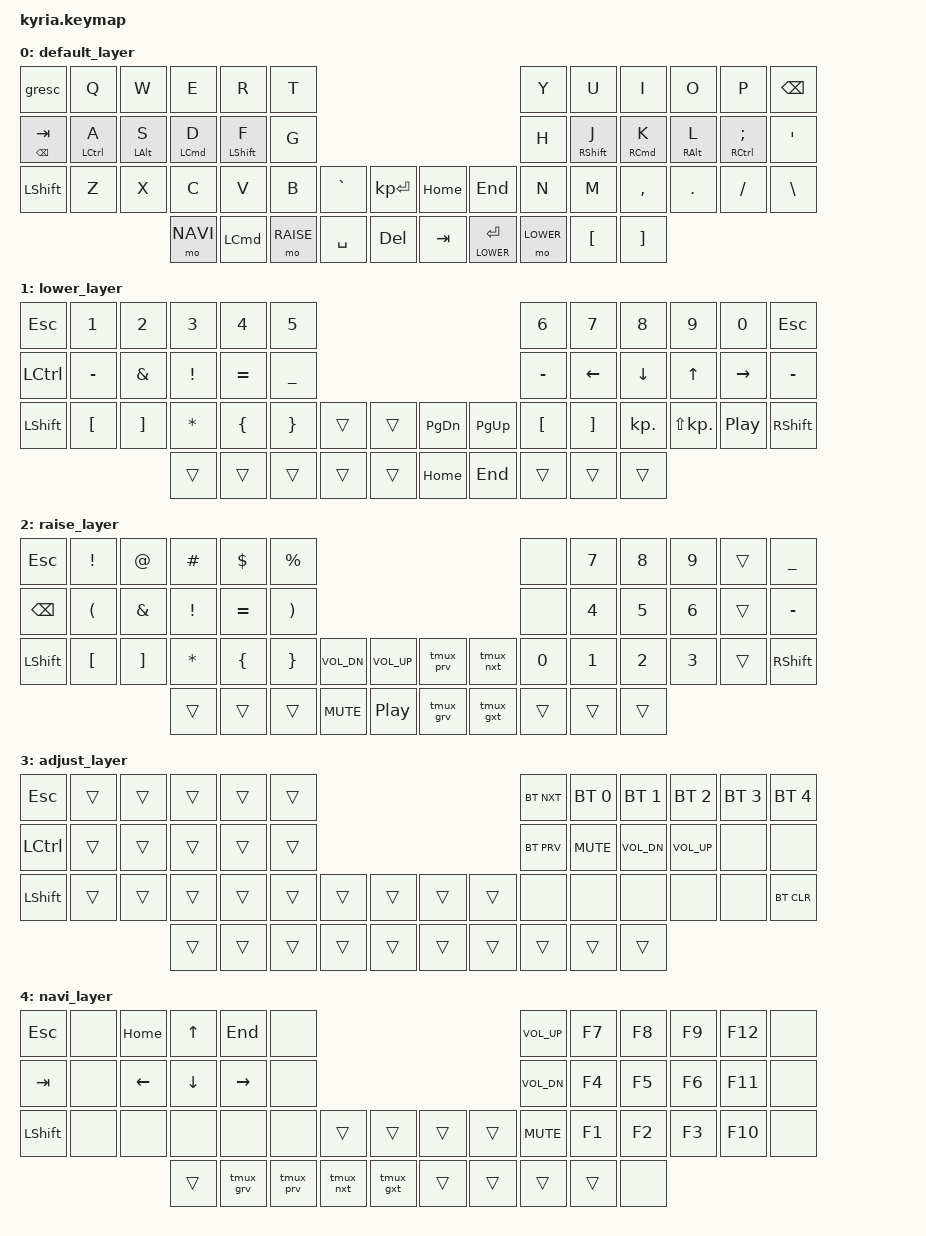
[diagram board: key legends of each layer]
/*
 * Copyright (c) 2020 The ZMK Contributors
 *
 * SPDX-License-Identifier: MIT
 */

#include <behaviors.dtsi>
#include <dt-bindings/zmk/keys.h>
#include <dt-bindings/zmk/bt.h>
#include <dt-bindings/zmk/ext_power.h>

#define DEFAULT 0
#define LOWER    1
#define RAISE    2
#define ADJUST  3
#define NAVI  4

/ {
    conditional_layers {
        compatible = "zmk,conditional-layers";
        tri_layer {
            if-layers = <LOWER RAISE>;
            then-layer = <ADJUST>;
        };
    };
};

/ {
    macros {
        tmux_nxt: tmux_nxt {
            label = "ZM_tmux_nxt";
			#binding-cells = <0>;
            compatible = "zmk,behavior-macro";
            bindings
                = <&macro_press &kp LCTRL>
                , <&macro_tap &kp B>
                , <&macro_release &kp LCTRL>
				, <&macro_tap &kp N>
                ;
        };
		tmux_prv: tmux_prv {
            label = "ZM_tmux_prv";
			#binding-cells = <0>;
            compatible = "zmk,behavior-macro";
            bindings
                = <&macro_press &kp LCTRL>
                , <&macro_tap &kp B>
                , <&macro_release &kp LCTRL>
				, <&macro_tap &kp P>
                ;
        };
        tmux_gxt: tmux_gxt {
            label = "ZM_tmux_gxt";
			#binding-cells = <0>;
            compatible = "zmk,behavior-macro";
            bindings
                = <&macro_press &kp LCTRL>
                , <&macro_tap &kp G>
                , <&macro_release &kp LCTRL>
				, <&macro_tap &kp N>
                ;
        };
		tmux_grv: tmux_grv {
            label = "ZM_tmux_grv";
			#binding-cells = <0>;
            compatible = "zmk,behavior-macro";
            bindings
                = <&macro_press &kp LCTRL>
                , <&macro_tap &kp G>
                , <&macro_release &kp LCTRL>
				, <&macro_tap &kp P>
                ;
        };
    };

	behaviors {
        hm: homerow_mods {
            compatible = "zmk,behavior-hold-tap";
            label = "HOMEROW_MODS";
            #binding-cells = <2>;
            tapping-term-ms = <100>;
            quick-tap-ms = <0>;
            flavor = "tap-preferred";
            bindings = <&kp>, <&kp>;
        };

        bhm: balanced_homerow_mods {
            compatible = "zmk,behavior-hold-tap";
            label = "HOMEROW_MODS";
            #binding-cells = <2>;
            tapping-term-ms = <250>;    // <---[[moderate duration]]
            quick-tap-ms = <0>;
            flavor = "balanced";
            bindings = <&kp>, <&kp>;
        };

        gresc: grave_escape {
            compatible = "zmk,behavior-mod-morph";
            label = "GRAVE_ESCAPE";
            #binding-cells = <0>;
            bindings = <&kp ESC>, <&kp GRAVE>;
            mods = <(MOD_LGUI|MOD_LSFT|MOD_RGUI|MOD_RSFT)>;
        };

        qt: quick_tap {
            compatible = "zmk,behavior-hold-tap";
            label = "QUICK_TAP";
            #binding-cells = <2>;
            flavor = "tap-preferred";
            tapping-term-ms = <250>;
            quick-tap-ms = <125>;
            bindings = <&kp>, <&kp>;
        };
    };

    combos {
		compatible = "zmk,combos";
        combo_grave_navi {
            timeout-ms = <50>;
            key-positions = <30 43>;
            bindings = <&mo NAVI>;
        };
    };

	keymap {
		compatible = "zmk,keymap";

		default_layer {
// ---------------------------------------------------------------------------------------------------------------------------------
// |  ESC  |  Q  |  W  |  E   |  R    |  T    |                                                                |  Y   |  U    |  I    |  O   |   P   | BSPC |
// |  BSPC |  A  |  S  |  D   |  F    |  G    |                                                                |  H   |  J    |  K    |  L   |   ;   |   '  |
// | SHIFT |  Z  |  X  |  C   |  V    |  B    |  GRAVE | RET  |                                |  PGDN  | PGUP |  N   |  M    |  ,    |  .   |   /   |   \  |
//                     | NAVI | LCMD | RAISE  | SPACE  | DEL  |                                |   TAB  |  RET | RAISE|  {[   |  }]   |
          bindings = <
   &gresc       &kp Q       &kp W       &kp E       &kp R        &kp T                                	                         &kp Y     &kp U        &kp I       &kp O       &kp P           &kp BSPC
   &qt BSPC TAB &hm LCTRL A &bhm LALT S &bhm LCMD D &bhm LSHFT F &kp G                                	                         &kp H     &bhm RSHFT J &bhm RCMD K &bhm RALT L &bhm RCTRL SEMI &kp SQT
   &kp LSHFT    &kp Z       &kp X       &kp C       &kp V        &kp B     &kp GRAVE &kp KP_ENTER     	  &kp HOME &kp END       &kp N     &kp M        &kp COMMA   &kp DOT     &kp FSLH        &kp BSLH
                                        &mo NAVI    &kp LCMD     &mo RAISE &kp SPACE &kp DEL          	  &kp TAB  &lt LOWER RET &mo LOWER &kp LBKT     &kp RBKT
             >;
        };


		lower_layer {
// ---------------------------------------------------------------------------------------------------------------------------------
// |  ESC  |  1  |  2   |   3   |   4    |  5     |                               		        |  6  |   7   |    8   |   9    |   0    |   ESC  |
// | LCTRL |  -  |  &   |   !   |   =    |  _     |                                             |  -  | LEFT  | DOWN   |  UP    | RIGHT  |    -   |
// | SHIFT |  [  |  ]   |   *   |   {    |  }     |          |       |         | PG_DN  | PG_UP | {[  |   }]  |  ,     |   .    |  >/||  | RSHFT  |
//                      |       |        |        |          |       |         |  TMGR  | TMGX  |     |       |        |
			bindings = <
	&kp ESC   &kp N1    &kp N2   &kp N3   &kp N4   &kp N5                                                &kp N6    &kp N7   &kp N8     &kp N9         &kp N0    &kp ESC
	&kp LCTRL &kp MINUS &kp AMPS &kp EXCL &kp EQL  &kp UNDER                                             &kp MINUS &kp LEFT &kp DOWN   &kp UP         &kp RIGHT &kp MINUS
	&kp LSHFT &kp LBKT  &kp RBKT &kp STAR &kp LBRC &kp RBRC  &trans  &trans         &kp PG_DN &kp PG_UP  &kp LBKT  &kp RBKT &kp KP_DOT &kp LS(KP_DOT) &kp C_PP  &kp RSHFT
	                       &trans         &trans   &trans    &trans  &trans         &kp HOME  &kp END    &trans    &trans   &trans
			>;
		};

		raise_layer {
// ---------------------------------------------------------------------------------------------------------------------------------
// | ESC   |  !  |  @   |   #   |   $    |  %    |                                          |        |   7  |   8   |   9  |      |   _   |
// | BSPC  |  (  |  &   |   !   |   =    |  )    |                                          |        |   4  |   5   |   6  |      |   -   |
// | SHIFT |  [  |  ]   |   *   |   {    |  }    | VOLDN  | VOLUP |         |  TMPR | TMNX  |    0   |   1  |    2  |   3  |      | RSHFT |
//                      |       |        |       |  MUTE  |  >/|| |         |  TMGR | TMGX  |        |      |       |
			bindings = <
	&kp ESC   &kp EXCL  &kp AT    &kp HASH  &kp DLLR &kp PRCNT                                                  &none  &kp N7 &kp N8 &kp N9 &trans &kp UNDERSCORE
	&kp BSPC  &kp LPAR  &kp AMPS  &kp EXCL  &kp EQL  &kp RPAR                                                   &none  &kp N4 &kp N5 &kp N6 &trans &kp MINUS
	&kp LSHFT &kp LBKT  &kp RBKT  &kp STAR  &kp LBRC &kp RBRC &kp C_VOL_DN &kp C_VOL_UP     &tmux_prv &tmux_nxt &kp N0 &kp N1 &kp N2 &kp N3 &trans &kp RSHFT
	                              &trans    &trans   &trans   &kp C_MUTE   &kp C_PP         &tmux_grv &tmux_gxt &trans &trans &trans
			>;
		};

		adjust_layer {
// ---------------------------------------------------------------------------------------------------------------------------------
// |  ESC  |BTCLR|  F2 |  F3  |  F4  | VOL_UP |                                                 | BT+ | BT0  |  BT1 |  BT2 | BT3 |  BT4  |
// |  TAB  |BTNXT|     |      |      | VOL_DN |                                                 | BT- |  MUT | VDN  | VUP  |     |       |
// | SHIFT |BTPRV|BTP1 | BTP2 | BTP3 |  MUTE  | L SHIFT | LOWER |           |         |         |     |      |      |      |     | BTCLR |
//            |        |      |      |  SPACE |   ESC   |                   |         |         |     |      |      |
			bindings = <
	&kp ESC   &trans &trans &trans &trans &trans                                        &bt BT_NXT   &bt BT_SEL 0 &bt BT_SEL 1 &bt BT_SEL 2 &bt BT_SEL 3 &bt BT_SEL 4
	&kp LCTRL &trans &trans &trans &trans &trans                                        &bt BT_PRV   &kp C_MUTE   &kp C_VOL_DN &kp C_VOL_UP &none        &none
	&kp LSHFT &trans &trans &trans &trans &trans &trans  &trans           &trans &trans &none        &none        &none        &none        &none        &bt BT_CLR
	                        &trans &trans &trans &trans &trans            &trans &trans &trans &trans &trans
			>;
		};

		navi_layer {
// ---------------------------------------------------------------------------------------------------------------------------------
// |  ESC  |     | HOME|  ⬆️   | END |       |                                                | C_VOL_UP |  F7   |  F8  |  F9  |  F12  |      |
// |  TAB  |     |  ⬅️ |  ⬇️   |  ➡️  |       |                                                 | C_VOL_DN |  F4   |  F5  |  F6  |  F11  |      |
// | SHIFT |     |     |      |     |        |         |       |              |        |       |  C_MUTE  |  F1   |  F2  |  F3  |  F10  |      |
//               |     |      |TMGR |  TMPR  |  TMNX   | TMGX  |              |        |       |         |        |      |
			bindings = <
	&kp ESC   &none &kp HOME &kp UP   &kp END   &none                                              &kp C_VOL_UP &kp F7  &kp F8  &kp F9 &kp F12  &none
	&kp TAB   &none &kp LEFT &kp DOWN &kp RIGHT &none	                                           &kp C_VOL_DN &kp F4  &kp F5  &kp F6 &kp F11  &none
	&kp LSHFT &none &none    &none    &none     &none     &trans    &trans           &trans &trans &kp C_MUTE   &kp F1  &kp F2  &kp F3 &kp F10  &none
	                &trans   &tmux_grv          &tmux_prv &tmux_nxt &tmux_gxt        &trans &trans &trans       &trans  &none
			>;
		};
	};
};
